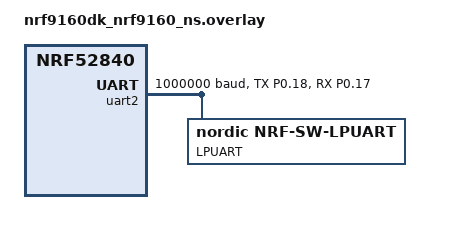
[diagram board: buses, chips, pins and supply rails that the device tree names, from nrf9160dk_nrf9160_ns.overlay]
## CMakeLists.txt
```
#
# Copyright (c) 2022 Nordic Semiconductor ASA
#
# SPDX-License-Identifier: LicenseRef-Nordic-5-Clause
#

cmake_minimum_required(VERSION 3.20.0)

find_package(Zephyr REQUIRED HINTS $ENV{ZEPHYR_BASE})
project(nrf_cloud_mqtt_multi_service)
zephyr_compile_definitions(PROJECT_NAME=${PROJECT_NAME})

# NORDIC SDK APP START
target_sources(app PRIVATE src/main.c)
target_sources(app PRIVATE src/application.c)
target_sources(app PRIVATE src/connection.c)
target_sources(app PRIVATE src/temperature.c)
target_sources(app PRIVATE src/fota_support.c)
target_sources(app PRIVATE src/led_control.c)
target_sources(app PRIVATE src/location_tracking.c)
target_sources(app PRIVATE src/ble.c)
# NORDIC SDK APP END

zephyr_include_directories(src)
```

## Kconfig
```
#
# Copyright (c) 2022 Nordic Semiconductor ASA
#
# SPDX-License-Identifier: LicenseRef-Nordic-5-Clause
#

menu "MQTT Multi Service Sample Settings"

config APP_VERSION
	string "MQTT Multi Service Sample version"
	default "1.0.0"

config POWER_SAVING_MODE_ENABLE
	bool "Enable Power Saving Mode (PSM)"
	help
	  Enable to request Power Saving Mode from cellular network.

config LTE_INIT_RETRY_TIMEOUT_SECONDS
	int "LTE initialization retry timeout (seconds)"
	default 30
	help
	  Sets the number of seconds between each LTE modem initialization
	  retry.

config CLOUD_CONNECTION_RETRY_TIMEOUT_SECONDS
	int "Cloud connection retry timeout (seconds)"
	default 30
	help
	  If connecting to nRF Cloud takes longer than this timeout, it will be
	  reattempted.

config CLOUD_CONNECTION_REESTABLISH_DELAY_SECONDS
	int "Cloud connection reestablishment delay (seconds)"
	default 5
	help
	  After the connection to nRF Cloud has been reset, wait this amount of
	  time before attempting to connect again.

config CLOUD_READY_TIMEOUT_SECONDS
	int "Cloud readiness timeout (seconds)"
	default 600
	help
	  If the connection to nRF Cloud does not become ready within this
	  timeout, the sample will reset its connection and try again.

config DATE_TIME_ESTABLISHMENT_TIMEOUT_SECONDS
	int "Modem date and time establishment timeout (seconds)"
	default 300
	help
	  The sample will wait this many seconds for the modem to determine the
	  current date and time before giving up and moving on.

config APPLICATION_THREAD_STACK_SIZE
	int "Application Thread Stack Size (bytes)"
	default 2048
	help
	  Sets the stack size (in bytes) for the application thread of the
	  sample.

config CONNECTION_THREAD_STACK_SIZE
	int "Connection Thread Stack Size (bytes)"
	default 2048
	help
	  Sets the stack size (in bytes) for the connection thread of the
	  sample.

config MESSAGE_THREAD_STACK_SIZE
	int "Message Queue Thread Stack Size (bytes)"
	default 2048
	help
	  Sets the stack size (in bytes) for the message queue processing
	  thread of the sample.

config BLE_THREAD_STACK_SIZE
	int "BLE Stack Size (bytes)"
	default 2048
	help
	  Sets the stack size (in bytes) for the BLE processing 
	  thread of the sample.

config LED_THREAD_STACK_SIZE
	int "LED Thread Stack Size (bytes)"
	default 512
	help
	  Sets the stack size (in bytes) for the LED thread.

config MAX_OUTGOING_MESSAGES
	int "Outgoing message maximum"
	default 64
	help
	  Sets the maximum number of device messages which may be enqueued
	  before further messages are dropped.

config MAX_CONSECUTIVE_SEND_FAILURES
	int "Max outgoing consecutive send failures"
	default 5
	help
	  Sets the maximum number of device messages which may fail to send
	  before a connection reset and cooldown is triggered.

config CONSECUTIVE_SEND_FAILURE_COOLDOWN_SECONDS
	int "Cooldown after max consecutive send failures exceeded"
	default 10
	help
	  If a connection reset is triggered by too many failed device
	  messages, the sample will wait this long (in seconds) before trying
	  again.

config SENSOR_SAMPLE_INTERVAL_SECONDS
	int "Sensor sampling interval (seconds)"
	default 60
	help
	  Sets the time to wait between each sensor sample.

config LOCATION_TRACKING_SAMPLE_INTERVAL_SECONDS
	int "Location sampling interval (seconds)"
	default 60
	help
	  Sets the location sampling interval in seconds.

config LOCATION_TRACKING_GNSS
	bool "Use GNSS method for location tracking"
	default y
	depends on LOCATION_METHOD_GNSS
	help
	  Disable all location tracking methods to completely disable location tracking.

config LOCATION_TRACKING_CELLULAR
	bool "Use cellular method for location tracking"
	default y
	depends on LOCATION_METHOD_CELLULAR
	help
	  Disable all location tracking methods to completely disable location tracking.

config LOCATION_TRACKING_WIFI
	bool "Use Wi-Fi method for location tracking"
	default n
	depends on LOCATION_METHOD_WIFI
	help
	  Requires the use of an nRF7002 companion chip.
	  Disable all location tracking methods to completely disable location tracking.

config TEMP_DATA_USE_SENSOR
	bool "Use genuine temperature data"
	depends on BOARD_THINGY91_NRF9160_NS
	default y if BOARD_THINGY91_NRF9160_NS
	select SENSOR
	select BME680
	help
	  Sets whether to take genuine temperature measurements from a
	  connected BME680 sensor, or just simulate sensor data.

config TEMP_TRACKING
	bool "Track temperature"
	default y
	help
	  Sets whether to take temperature measurements.

config TEMP_ALERT_LIMIT
	int "Temperature limit to send alert"
	default 30
	help
	  Sets the temperature in degrees C over which a temperature alert will
	  be sent to the cloud.

choice
	prompt "LED indication"
	default LED_INDICATION_PWM if BOARD_THINGY91_NRF9160_NS
	default LED_INDICATION_GPIO if BOARD_NRF9160DK_NRF9160_NS || $(dt_compat_enabled,gpio-leds)
	default LED_INDICATION_DISABLED

	config LED_INDICATION_PWM
		select LED
		select LED_PWM
		select PWM
		bool "Enable LED indication using the pwm-leds driver"

	config LED_INDICATION_GPIO
		select LED
		select LED_GPIO
		bool "Enable LED indication using the gpio-leds driver"

	config LED_INDICATION_DISABLED
		bool "Disable LED indication"
endchoice

choice
	prompt "LED indication LED type"
	depends on !LED_INDICATION_DISABLED
	default LED_INDICATOR_RGB if BOARD_THINGY91_NRF9160_NS && LED_INDICATION_PWM
	default LED_INDICATOR_4LED if !LED_INDICATION_DISABLED
	default LED_INDICATOR_NONE

	config LED_INDICATOR_RGB
		depends on LED_INDICATION_PWM
		bool "A single RGB LED"

	config LED_INDICATOR_4LED
		depends on !LED_INDICATION_DISABLED
		bool "Four binary LEDs"

	config LED_INDICATOR_NONE
		depends on LED_INDICATION_DISABLED
		bool "No indicator LEDs"

endchoice

config LED_VERBOSE_INDICATION
	depends on !LED_INDICATION_DISABLED
	bool "Enables extra LED status indications"
	default y

config LED_CONTINUOUS_INDICATION
	depends on !LED_INDICATION_DISABLED
	bool "Show an idle pattern instead of turning LEDs off"
	default y

config GNSS_FIX_TIMEOUT_SECONDS
	int "GNSS Fix timeout"
	default 40
	help
	  On each location sample, try for this long to achieve a GNSS fix
	  before falling back to cellular positioning.
	  Set this to 20 or so seconds below the sensor sample interval so
	  that there is time left over to perform cellular positioning.
	  Otherwise, location samples may occur at a longer interval than
	  requested.

config TEST_COUNTER
	bool "Sets whether the test counter is enabled"

config AT_CMD_REQUESTS
	bool "Enables remote execution of AT commands using device messages"
	default y

config AT_CMD_REQUEST_RESPONSE_BUFFER_LENGTH
	int "Max length (in bytes) for Modem responses during AT command requests"
	help
	  Responses to modem AT commands are stored in a buffer of this length before being sent to
	  nRF Cloud. If a response from the modem exceeds this length, it will be dropped, and an
	  error code sent in its place (-NRF_E2BIG). Cannot be less than 40 bytes.
	default 200

endmenu

module = MQTT_MULTI_SERVICE
module-str = MQTT Multi Service
source "${ZEPHYR_BASE}/subsys/logging/Kconfig.template.log_config"

menu "Zephyr Kernel"
source "Kconfig.zephyr"
endmenu
```

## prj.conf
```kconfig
#
# Copyright (c) 2022 Nordic Semiconductor ASA
#
# SPDX-License-Identifier: LicenseRef-Nordic-5-Clause
#

# Log level
# For more verbose and detailed log output, set the log level to
# CONFIG_MQTT_MULTI_SERVICE_LOG_LEVEL_DBG=y instead.
CONFIG_MQTT_MULTI_SERVICE_LOG_LEVEL_INF=y
CONFIG_LOG=y
CONFIG_LOG_MAX_LEVEL=4

# General config
CONFIG_EVENTS=y
CONFIG_NEWLIB_LIBC=y
CONFIG_NEWLIB_LIBC_FLOAT_PRINTF=y
CONFIG_RESET_ON_FATAL_ERROR=y
CONFIG_NCS_SAMPLES_DEFAULTS=y

#LED indication
# Uncomment these to minimize LED state indication when power savings are necessary
# CONFIG_LED_VERBOSE_INDICATION=n
# CONFIG_LED_CONTINUOUS_INDICATION=n

# Or, uncomment this to completely disable LED state indication
# CONFIG_LED_INDICATION_DISABLED=y

# Improved Logging
# CONFIG_LOG_MODE_DEFERRED allows logging from multiple threads simultaneously without creating
# splintered log entries, at the cost of needing a buffer for storing logs.
CONFIG_LOG_MODE_DEFERRED=y

# CONFIG_LOG_BUFFER_SIZE is the aforementioned buffer. A size of 4096 bytes is useful for debugging
# and prototyping, but is probably more than necessary for production-ready firmware.
CONFIG_LOG_BUFFER_SIZE=4096

# Heap and stacks
# Extended memory heap size needed both for PGPS and for encoding JSON-based nRF Cloud Device Messages.
CONFIG_HEAP_MEM_POOL_SIZE=24576
CONFIG_SYSTEM_WORKQUEUE_STACK_SIZE=2048

# Network
CONFIG_NETWORKING=y
CONFIG_NET_NATIVE=n
CONFIG_NET_SOCKETS=y
CONFIG_NET_SOCKETS_OFFLOAD=y

# Modem library
CONFIG_NRF_MODEM_LIB=y

# AT commands interface
CONFIG_UART_INTERRUPT_DRIVEN=y
CONFIG_AT_HOST_LIBRARY=y

# nRF Cloud
CONFIG_NRF_CLOUD_MQTT=y # This also enables FOTA by implicitly setting CONFIG_NRF_CLOUD_FOTA=y

# MQTT
CONFIG_MQTT_KEEPALIVE=120

# MCUBOOT - Needed by FOTA
CONFIG_BOOTLOADER_MCUBOOT=y
CONFIG_IMG_MANAGER=y
CONFIG_MCUBOOT_IMG_MANAGER=y
CONFIG_STREAM_FLASH_ERASE=y

# Location Services configuration
CONFIG_LOCATION=y
CONFIG_LOCATION_METHOD_GNSS=y
CONFIG_LOCATION_METHOD_CELLULAR=y
CONFIG_NRF_CLOUD_AGPS=y
CONFIG_NRF_CLOUD_LOCATION=y
CONFIG_MODEM_INFO=y
CONFIG_MODEM_INFO_ADD_NETWORK=y
CONFIG_NRF_CLOUD_PGPS=y
CONFIG_NRF_CLOUD_PGPS_REPLACEMENT_THRESHOLD=4
CONFIG_NRF_CLOUD_PGPS_REQUEST_UPON_INIT=y

# Date Time lib - Used by PGPS and main application
CONFIG_DATE_TIME=y

# LTE link control - used by PGPS and main application
CONFIG_LTE_LINK_CONTROL=y
CONFIG_LTE_NETWORK_MODE_LTE_M_GPS=y
CONFIG_LTE_AUTO_INIT_AND_CONNECT=n

# Settings - used by nRF Cloud library and PGPS
CONFIG_SETTINGS=y
CONFIG_SETTINGS_FCB=y
CONFIG_FCB=y

# Download Client - used by FOTA and PGPS
CONFIG_DOWNLOAD_CLIENT=y
CONFIG_DOWNLOAD_CLIENT_HTTP_FRAG_SIZE_1024=y
CONFIG_DOWNLOAD_CLIENT_STACK_SIZE=4096
CONFIG_DOWNLOAD_CLIENT_BUF_SIZE=2300
CONFIG_DOWNLOAD_CLIENT_MAX_HOSTNAME_SIZE=128

# Flash - Used by FOTA and PGPS
CONFIG_FLASH=y
CONFIG_FLASH_PAGE_LAYOUT=y
CONFIG_FLASH_MAP=y
CONFIG_STREAM_FLASH=y
CONFIG_MPU_ALLOW_FLASH_WRITE=y
CONFIG_PM_EXTERNAL_FLASH_MCUBOOT_SECONDARY=n
CONFIG_NRF_CLOUD_ALERTS=y

# Enable Bluetooth stack and libraries
CONFIG_BT=y
CONFIG_BT_H4=y
CONFIG_BT_WAIT_NOP=y
CONFIG_BT_CENTRAL=y
CONFIG_BT_GATT_CLIENT=y
CONFIG_BT_NUS_CLIENT=y
CONFIG_BT_GATT_DM=y
CONFIG_BT_SCAN=y
CONFIG_BT_SCAN_FILTER_ENABLE=y
CONFIG_BT_SCAN_UUID_CNT=1

# Enable UART
CONFIG_NRF_SW_LPUART=y
CONFIG_NRF_SW_LPUART_INT_DRIVEN=y

CONFIG_SERIAL=y
CONFIG_UART_2_ASYNC=y
CONFIG_UART_2_INTERRUPT_DRIVEN=n
CONFIG_UART_2_NRF_HW_ASYNC=y
CONFIG_UART_2_NRF_HW_ASYNC_TIMER=2
```

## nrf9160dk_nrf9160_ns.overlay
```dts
// To get started, press Ctrl+Space to bring up the completion menu and view the available nodes.

// You can also use the buttons in the sidebar to perform actions on nodes.
// Actions currently available include:

// * Enabling / disabling the node
// * Adding the bus to a bus
// * Removing the node
// * Connecting ADC channels

// For more help, browse the DeviceTree documentation at https://docs.zephyrproject.org/latest/guides/dts/index.html
// You can also visit the nRF DeviceTree extension documentation at https://nrfconnect.github.io/vscode-nrf-connect/devicetree/nrfdevicetree.html
#include <nrf9160dk_nrf52840_reset_on_if5.dtsi>

/ {
	chosen {
		zephyr,bt-uart=&lpuart;
	};
};

&gpiote {
	interrupts = <49 NRF_DEFAULT_IRQ_PRIORITY>;
};

&uart2 {
	current-speed = <1000000>;
	status = "okay";
	/delete-property/ hw-flow-control;

	pinctrl-0 = <&uart2_default_alt>;
	pinctrl-1 = <&uart2_sleep_alt>;
	pinctrl-names = "default", "sleep";
	lpuart: nrf-sw-lpuart {
		compatible = "nordic,nrf-sw-lpuart";
		status = "okay";
		label = "LPUART";
		req-pin = <21>; /* <&interface_to_nrf52840 3 0>; */
		rdy-pin = <19>; /* <&interface_to_nrf52840 2 0>; */
	};
};

&pinctrl {
	uart2_default_alt: uart2_default_alt {
		group1 {
			psels = <NRF_PSEL(UART_TX, 0, 18)>,
				<NRF_PSEL(UART_RX, 0, 17)>;
		};
	};

	uart2_sleep_alt: uart2_sleep_alt {
		group1 {
			psels = <NRF_PSEL(UART_TX, 0, 18)>,
				<NRF_PSEL(UART_RX, 0, 17)>;
			low-power-enable;
		};
	};

};
```

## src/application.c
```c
/* Copyright (c) 2022 Nordic Semiconductor ASA
 *
 * SPDX-License-Identifier: LicenseRef-Nordic-5-Clause
 */

#include <zephyr/kernel.h>
#include <zephyr/logging/log.h>
#include <modem/location.h>
#include <nrf_modem_at.h>
#include <nrf_errno.h>
#include <net/nrf_cloud.h>
#include <net/nrf_cloud_alerts.h>
#include <date_time.h>
#include <cJSON.h>
#include <stdio.h>

#include "nrf_cloud_codec.h"
#include "application.h"
#include "temperature.h"
#include "connection.h"
#include "ble.h"

#include "location_tracking.h"
#include "led_control.h"

LOG_MODULE_REGISTER(application, CONFIG_MQTT_MULTI_SERVICE_LOG_LEVEL);

/* Timer used to time the sensor sampling rate. */
static K_TIMER_DEFINE(sensor_sample_timer, NULL, NULL);

/* AT command request error handling */
#define AT_CMD_REQUEST_ERR_FORMAT "Error while processing AT command request: %d"
#define AT_CMD_REQUEST_ERR_MAX_LEN (sizeof(AT_CMD_REQUEST_ERR_FORMAT) + 20)
BUILD_ASSERT(CONFIG_AT_CMD_REQUEST_RESPONSE_BUFFER_LENGTH >= AT_CMD_REQUEST_ERR_MAX_LEN,
	     "Not enough AT command response buffer for printing error events.");

/* Temperature alert limits. */
#define TEMP_ALERT_LIMIT CONFIG_TEMP_ALERT_LIMIT
#define TEMP_ALERT_HYSTERESIS 2
#define TEMP_ALERT_LOWER_LIMIT (TEMP_ALERT_LIMIT + TEMP_ALERT_HYSTERESIS)

/* Buffer to contain modem responses when performing AT command requests */
static char at_req_resp_buf[CONFIG_AT_CMD_REQUEST_RESPONSE_BUFFER_LENGTH];

/**
 * @brief Construct a device message cJSON object with automatically generated timestamp
 *
 * The resultant cJSON object will be conformal to the General Message Schema described in the
 * application-protocols repo:
 *
 * https://github.com/nRFCloud/application-protocols
 *
 * @param appid - The appId for the device message
 * @param msg_type - The messageType for the device message
 * @return cJSON* - the timestamped data device message object if successful, NULL otherwise.
 */
static cJSON *create_timestamped_device_message(const char *const appid, const char *const msg_type)
{
	cJSON *msg_obj = NULL;
	int64_t timestamp;

	/* Acquire timestamp */
	if (date_time_now(&timestamp)) {
		LOG_ERR("Failed to create timestamp for data message "
			"with appid %s", appid);
		return NULL;
	}

	/* Create container object */
	msg_obj = json_create_req_obj(appid, msg_type);
	if (msg_obj == NULL) {
		LOG_ERR("Failed to create container object for timestamped data message "
			"with appid %s and message type %s", appid, msg_type);
		return NULL;
	}

	/* Add timestamp to container object */
	if (!cJSON_AddNumberToObject(msg_obj, NRF_CLOUD_MSG_TIMESTAMP_KEY, (double)timestamp)) {
		LOG_ERR("Failed to add timestamp to data message with appid %s and message type %s",
			appid, msg_type);
		cJSON_Delete(msg_obj);
		return NULL;
	}

	return msg_obj;
}

/**
 * @brief Transmit a collected sensor sample to nRF Cloud.
 *
 * @param sensor - The name of the sensor which was sampled.
 * @param value - The sampled sensor value.
 * @return int - 0 on success, negative error code otherwise.
 */
static int send_sensor_sample(const char *const sensor, double value)
{
	int ret = 0;

	/* Create a timestamped message container object for the sensor sample. */
	cJSON *msg_obj = create_timestamped_device_message(
		sensor, NRF_CLOUD_JSON_MSG_TYPE_VAL_DATA
	);

	if (msg_obj == NULL) {
		ret = -EINVAL;
		goto cleanup;
	}

	/* Populate the container object with the sensor value. */
	if (cJSON_AddNumberToObject(msg_obj, NRF_CLOUD_JSON_DATA_KEY, value) == NULL) {
		ret = -ENOMEM;
		LOG_ERR("Failed to append value to %s sample container object ",
			sensor);
		goto cleanup;
	}

	/* Send the sensor sample container object as a device message. */
	ret = send_device_message_cJSON(msg_obj);

cleanup:
	if (msg_obj) {
		cJSON_Delete(msg_obj);
	}
	return ret;
}

static int send_string(const char *const sensor, const char *const value)
{
	int ret = 0;

	/* Create a timestamped message container object for the sensor sample. */
	cJSON *msg_obj = create_timestamped_device_message(
		sensor, NRF_CLOUD_JSON_MSG_TYPE_VAL_DATA
	);

	if (msg_obj == NULL) {
		ret = -EINVAL;
		goto cleanup;
	}

	/* Populate the container object with the sensor value. */
	if (cJSON_AddStringToObject(msg_obj, NRF_CLOUD_JSON_DATA_KEY, value) == NULL) {
		ret = -ENOMEM;
		LOG_ERR("Failed to append value to %s sample container object ",
			sensor);
		goto cleanup;
	}

	/* Send the sensor sample container object as a device message. */
	ret = send_device_message_cJSON(msg_obj);

cleanup:
	if (msg_obj) {
		cJSON_Delete(msg_obj);
	}
	return ret;
}

/**
 * @brief Transmit a collected GNSS sample to nRF Cloud.
 *
 * @param loc_gnss - GNSS location data.
 * @return int - 0 on success, negative error code otherwise.
 */
static int send_gnss(const struct location_event_data * const loc_gnss)
{
	if (!loc_gnss || (loc_gnss->method != LOCATION_METHOD_GNSS)) {
		return -EINVAL;
	}

	int ret = 0;
	struct nrf_cloud_gnss_data gnss_pvt = {
		.type = NRF_CLOUD_GNSS_TYPE_PVT,
		.ts_ms = NRF_CLOUD_NO_TIMESTAMP,
		.pvt = {
			.lon		= loc_gnss->location.longitude,
			.lat		= loc_gnss->location.latitude,
			.accuracy	= loc_gnss->location.accuracy,
			.has_alt	= 0,
			.has_speed	= 0,
			.has_heading	= 0
		}
	};

	cJSON *msg_obj = cJSON_CreateObject();

	/* Add the timestamp */
	(void)date_time_now(&gnss_pvt.ts_ms);

	/* Encode the location data into a device message */
	ret = nrf_cloud_gnss_msg_json_encode(&gnss_pvt, msg_obj);

	if (ret == 0) {
		/* Send the location message */
		ret = send_device_message_cJSON(msg_obj);
	}

	if (msg_obj) {
		cJSON_Delete(msg_obj);
	}

	return ret;
}

/**
 * @brief Callback to receive periodic location updates from location_tracking.c and forward them
 * to nRF Cloud.
 *
 * Note that cellular positioning (MCELL/Multi-Cell and SCELL/Single-Cell) is sent to nRF
 * Cloud automatically (since the Location library and nRF Cloud must work together to
 * determine them in the first place). GNSS positions, on the other hand, must be
 * sent manually, since they are determined entirely on-device.
 *
 * @param location_data - The received location update.
 *
 */
static void on_location_update(const struct location_event_data * const location_data)
{
	LOG_INF("Location Updated: %.06f N %.06f W, accuracy: %.01f m, Method: %s",
		location_data->location.latitude,
		location_data->location.longitude,
		location_data->location.accuracy,
		location_method_str(location_data->method));

	/* If the position update was derived using GNSS, send it onward to nRF Cloud. */
	if (location_data->method == LOCATION_METHOD_GNSS) {
		LOG_INF("GNSS Position Update! Sending to nRF Cloud...");
		send_gnss(location_data);
	}
}

/**
 * @brief Receives general device messages from nRF Cloud, checks if they are AT command requests,
 * and performs them if so, transmitting the modem response back to nRF Cloud.
 *
 * Try sending {"appId":"MODEM", "messageType":"CMD", "data":"AT+CGMR"}
 * in the nRF Cloud Portal Terminal card.
 *
 * @param msg - The device message to check.
 */
static void handle_at_cmd_requests(const char *const msg)
{
	/* Attempt to parse the message as if it is JSON */
	struct cJSON *msg_obj = cJSON_Parse(msg);

	if (!msg_obj) {
		/* The message isn't JSON or otherwise couldn't be parsed. */
		LOG_DBG("A general topic device message of length %d could not be parsed.",
			msg ? strlen(msg) : 0);
		return;
	}

	/* Check that we are actually dealing with an AT command request */
	char *msg_appid =
		cJSON_GetStringValue(cJSON_GetObjectItem(msg_obj, NRF_CLOUD_JSON_APPID_KEY));
	char *msg_type =
		cJSON_GetStringValue(cJSON_GetObjectItem(msg_obj, NRF_CLOUD_JSON_MSG_TYPE_KEY));
	if (!msg_appid || !msg_type ||
	    (strcmp(msg_appid, NRF_CLOUD_JSON_APPID_VAL_MODEM)  != 0) ||
	    (strcmp(msg_type,  NRF_CLOUD_JSON_MSG_TYPE_VAL_CMD) != 0)) {
		goto cleanup;
	}

	/* If it is, extract the command string */
	char *cmd =
		cJSON_GetStringValue(cJSON_GetObjectItem(msg_obj, NRF_CLOUD_JSON_DATA_KEY));

	if (!cmd) {
		/* Missing or invalid command value will be treated as a blank command */
		cmd = "";
	}

	/* Execute the command and receive the result */
	LOG_DBG("Modem AT command requested: %s", cmd);
	memset(at_req_resp_buf, 0, sizeof(at_req_resp_buf));

	/* We must pass the command in using a format specifier it might contain special characters
	 * such as %.
	 *
	 * We subtract 1 from the passed-in response buffer length to ensure that the response is
	 * always null-terminated, even when the response is longer than the response buffer size.
	 */
	int err = nrf_modem_at_cmd(at_req_resp_buf, sizeof(at_req_resp_buf) - 1, "%s", cmd);

	LOG_DBG("Modem AT command response (%d, %d): %s",
		nrf_modem_at_err_type(err), nrf_modem_at_err(err), at_req_resp_buf);

	/* Trim \r\n from modem response for better readability in the portal. */
	at_req_resp_buf[MAX(0, strlen(at_req_resp_buf) - 2)] = '\0';

	/* If an error occurred with the request, report it */
	if (err < 0) {
		/* Negative error codes indicate an error with the modem lib itself, so the
		 * response buffer will be empty (or filled with junk). Thus, we can print the
		 * error message directly into it.
		 */
		snprintf(at_req_resp_buf, sizeof(at_req_resp_buf), AT_CMD_REQUEST_ERR_FORMAT, err);
		LOG_ERR("%s", at_req_resp_buf);
	}

	/* Free the old container object and create a new one to contain our response */
	cJSON_Delete(msg_obj);
	msg_obj = create_timestamped_device_message(
		NRF_CLOUD_JSON_APPID_VAL_MODEM,
		NRF_CLOUD_JSON_MSG_TYPE_VAL_DATA
	);
	if (!msg_obj) {
		return;
	}

	/* Populate response with command result */
	if (!cJSON_AddStringToObject(msg_obj, NRF_CLOUD_JSON_DATA_KEY, at_req_resp_buf)) {
		LOG_ERR("Failed to populate AT CMD response with modem response data");
		goto cleanup;
	}

	/* Send the response */
	err = send_device_message_cJSON(msg_obj);

	if (err) {
		LOG_ERR("Failed to send AT CMD request response, error: %d", err);
	}

cleanup:
	cJSON_Delete(msg_obj);
}

/** @brief Check whether temperature is acceptable.
 * If the device exceeds a temperature limit, send the temperature alert one time.
 * Once the temperature falls below a lower limit, re-enable the temperature alert
 * so it will be sent if limit is exceeded again.
 *
 * The difference between the two limits should be sufficient to prevent sending
 * new alerts if the temperature value oscillates between two nearby values.
 *
 * @param temp - The current device temperature.
 */
static void monitor_temperature(double temp)
{
	static bool temperature_alert_active;

	if ((temp > TEMP_ALERT_LIMIT) && !temperature_alert_active) {
		temperature_alert_active = true;
		(void)nrf_cloud_alert_send(ALERT_TYPE_TEMPERATURE, (float)temp,
					   "Temperature over limit!");
	} else if (temp < TEMP_ALERT_LOWER_LIMIT) {
		temperature_alert_active = false;
	}
}

static uint8_t nus_tx_data[32];
static uint16_t nus_tx_data_len;
static bool data_received = false;

static void on_ble_received(const uint8_t *data, uint16_t length)
{
	static uint8_t buf[32];
	memcpy(buf, data, length);
	buf[length] = 0;
	LOG_INF("Data received (%i bytes): %s", length, buf);

	strcpy(nus_tx_data, buf);
	nus_tx_data_len = strlen(nus_tx_data);
	data_received = true;
}

void main_application_thread_fn(void)
{
	if (IS_ENABLED(CONFIG_AT_CMD_REQUESTS)) {
		/* Register with connection.c to receive general device messages and check them for
		 * AT command requests.
		 */
		register_general_dev_msg_handler(handle_at_cmd_requests);
	}

	ble_init(on_ble_received);

	/* Wait for first connection before starting the application. */
	(void)await_connection(K_FOREVER);

	(void)nrf_cloud_alert_send(ALERT_TYPE_DEVICE_NOW_ONLINE, 0, NULL);

	/* Wait for the date and time to become known.
	 * This is needed both for location services and for sensor sample timestamping.
	 */
	LOG_INF("Waiting for modem to determine current date and time");
	if (!await_date_time_known(K_SECONDS(CONFIG_DATE_TIME_ESTABLISHMENT_TIMEOUT_SECONDS))) {
		LOG_WRN("Failed to determine valid date time. Proceeding anyways");
	} else {
		LOG_INF("Current date and time determined");
	}

	/* Begin tracking location at the configured interval. */
	(void)start_location_tracking(on_location_update,
					CONFIG_LOCATION_TRACKING_SAMPLE_INTERVAL_SECONDS);

	int counter = 0;

	/* Begin sampling sensors. */
	while (true) {
		/* Start the sensor sample interval timer.
		 * We use a timer here instead of merely sleeping the thread, because the
		 * application thread can be preempted by other threads performing long tasks
		 * (such as periodic location acquisition), and we want to account for these
		 * delays when metering the sample send rate.
		 */
		k_timer_start(&sensor_sample_timer,
			K_SECONDS(CONFIG_SENSOR_SAMPLE_INTERVAL_SECONDS), K_FOREVER);

		if (IS_ENABLED(CONFIG_TEMP_TRACKING)) {
			double temp = -1;

			if (get_temperature(&temp) == 0) {
				LOG_INF("Temperature is %d degrees C", (int)temp);
				(void)send_sensor_sample(NRF_CLOUD_JSON_APPID_VAL_TEMP, temp);

				monitor_temperature(temp);
			}
		}

		if (data_received) {
			data_received = false;
			send_string("NUS", nus_tx_data);
		}

		if (IS_ENABLED(CONFIG_TEST_COUNTER)) {
			(void)send_sensor_sample("COUNT", counter++);
		}

		/* Wait out any remaining time on the sample interval timer. */
		k_timer_status_sync(&sensor_sample_timer);
	}
}
```

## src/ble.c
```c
/*
 * Copyright (c) 2018 Nordic Semiconductor ASA
 *
 * SPDX-License-Identifier: LicenseRef-Nordic-5-Clause
 */
#include "ble.h"


LOG_MODULE_REGISTER(ble, 4);

/* UART payload buffer element size. */
#define UART_BUF_SIZE 20

static on_ble_data_received m_on_ble_data_received;

static struct bt_conn *default_conn;
static struct bt_nus_client nus_client;

static void ble_data_sent(struct bt_nus_client *nus, uint8_t err,
					const uint8_t *const data, uint16_t len)
{
	ARG_UNUSED(nus);

	if (err) {
		LOG_WRN("NUS write ATT error code: 0x%02X", err);
	}
}

static uint8_t ble_data_received(struct bt_nus_client *nus,
						const uint8_t *data, uint16_t len)
{
	ARG_UNUSED(nus);

	LOG_DBG("NUS client data received (%i bytes)", len);
	if(m_on_ble_data_received) m_on_ble_data_received(data, len);

	return BT_GATT_ITER_CONTINUE;
}

static void discovery_completed(struct bt_gatt_dm *dm, void *context)
{
	struct bt_nus_client *nus = context;
	LOG_INF("Service discovery completed");

	bt_gatt_dm_data_print(dm);

	bt_nus_handles_assign(dm, nus);
	bt_nus_subscribe_receive(nus);

	bt_gatt_dm_data_release(dm);
}

static void discovery_service_not_found(struct bt_conn *conn, void *ctx)
{
	LOG_ERR("NUS service not found!");
}

static void discovery_error_found(struct bt_conn *conn, int err, void *ctx)
{
	LOG_ERR("The discovery procedure failed, err %d", err);
}

static struct bt_gatt_dm_cb discovery_cb = {
	.completed = discovery_completed,
	.service_not_found = discovery_service_not_found,
	.error_found = discovery_error_found,
};

static void gatt_discover(struct bt_conn *conn)
{
	int err;

	if (conn != default_conn) {
		return;
	}

	err = bt_gatt_dm_start(conn,
			       BT_UUID_NUS_SERVICE,
			       &discovery_cb,
			       &nus_client);
	if (err) {
		LOG_ERR("could not start the discovery procedure, error "
			"code: %d", err);
	}
}

static void exchange_func(struct bt_conn *conn, uint8_t err, struct bt_gatt_exchange_params *params)
{
	if (!err) {
		LOG_INF("MTU exchange done");
	} else {
		LOG_WRN("MTU exchange failed (err %" PRIu8 ")", err);
	}
}

static void connected(struct bt_conn *conn, uint8_t conn_err)
{
	int err;
	char addr[BT_ADDR_LE_STR_LEN];

	bt_addr_le_to_str(bt_conn_get_dst(conn), addr, sizeof(addr));

	if (conn_err) {
		LOG_INF("Failed to connect to %s (%d)", addr, conn_err);

		if (default_conn == conn) {
			bt_conn_unref(default_conn);
			default_conn = NULL;

			err = bt_scan_start(BT_SCAN_TYPE_SCAN_ACTIVE);
			if (err) {
				LOG_ERR("Scanning failed to start (err %d)",
					err);
			}
		}

		return;
	}

	LOG_INF("Connected: %s", addr);

	static struct bt_gatt_exchange_params exchange_params;

	exchange_params.func = exchange_func;
	err = bt_gatt_exchange_mtu(conn, &exchange_params);
	if (err) {
		LOG_WRN("MTU exchange failed (err %d)", err);
	}

	// Start service discovery
	gatt_discover(conn);
}

static void disconnected(struct bt_conn *conn, uint8_t reason)
{
	char addr[BT_ADDR_LE_STR_LEN];
	int err;

	bt_addr_le_to_str(bt_conn_get_dst(conn), addr, sizeof(addr));

	LOG_INF("Disconnected: %s (reason %u)", addr, reason);

	if (default_conn != conn) {
		return;
	}

	bt_conn_unref(default_conn);
	default_conn = NULL;

	err = bt_scan_start(BT_SCAN_TYPE_SCAN_ACTIVE);
	if (err) {
		LOG_ERR("Scanning failed to start (err %d)", err);
	}
}

static struct bt_conn_cb conn_callbacks = {
	.connected = connected,
	.disconnected = disconnected,
};

void scan_filter_match(struct bt_scan_device_info *device_info,
		       struct bt_scan_filter_match *filter_match,
		       bool connectable)
{
	char addr[BT_ADDR_LE_STR_LEN];

	bt_addr_le_to_str(device_info->recv_info->addr, addr, sizeof(addr));

	LOG_INF("Device found: %s", addr);
}

void scan_connecting_error(struct bt_scan_device_info *device_info)
{
	LOG_ERR("Connection to peer failed!");
}

static void scan_connecting(struct bt_scan_device_info *device_info,
			    struct bt_conn *conn)
{
	default_conn = bt_conn_ref(conn);
}

BT_SCAN_CB_INIT(scan_cb, scan_filter_match, NULL, scan_connecting_error, scan_connecting);

static void scan_start(void)
{
	int err;

	struct bt_le_scan_param scan_param = {
		.type = BT_LE_SCAN_TYPE_ACTIVE,
		.options = BT_LE_SCAN_OPT_FILTER_DUPLICATE,
		.interval = 0x0010,
		.window = 0x0010,
	};

	struct bt_scan_init_param scan_init = {
		.connect_if_match = 1,
		.scan_param = &scan_param,
		.conn_param = BT_LE_CONN_PARAM_DEFAULT,
	};

	bt_scan_init(&scan_init);
	bt_scan_cb_register(&scan_cb);

	err = bt_scan_filter_add(BT_SCAN_FILTER_TYPE_UUID, BT_UUID_NUS_SERVICE);
	if (err) {
		LOG_ERR("Scanning filters cannot be set");
		return;
	}

	err = bt_scan_filter_enable(BT_SCAN_UUID_FILTER, false);
	if (err) {
		LOG_ERR("Filters cannot be turned on");
	}

	err = bt_scan_start(BT_SCAN_TYPE_SCAN_ACTIVE);
	if (err) {
		LOG_ERR("Scanning failed to start, err %d", err);
	}

	LOG_INF("Scanning...");
}

static int nus_client_init(void)
{
	int err;
	struct bt_nus_client_init_param init = {
		.cb = {
			.received = ble_data_received,
			.sent = ble_data_sent,
		}
	};

	err = bt_nus_client_init(&nus_client, &init);
	if (err) {
		LOG_ERR("NUS Client initialization failed (err %d)", err);
		return err;
	}

	LOG_INF("NUS Client module initialized");
	return err;
}

static void ble_ready(int err)
{
	LOG_INF("Bluetooth ready");

	bt_conn_cb_register(&conn_callbacks);
	
	nus_client_init();

	scan_start();
}

void ble_init(on_ble_data_received received_cb)
{
	int err;

	m_on_ble_data_received = received_cb;

	LOG_INF("Initializing Bluetooth..");
	err = bt_enable(ble_ready);
	if (err) {
		LOG_ERR("Bluetooth init failed (err %d)", err);
		return;
	}
	else {
		LOG_INF("Bluetooth init success");
	}
}

uint32_t ble_send_data(const uint8_t *data, uint16_t length)
{
	return bt_nus_client_send(&nus_client, data, length);
}
```

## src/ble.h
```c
/*
 * Copyright (c) 2018 Nordic Semiconductor ASA
 *
 * SPDX-License-Identifier: LicenseRef-Nordic-5-Clause
 */

#ifndef _BLE_H_
#define _BLE_H_
#include <zephyr/kernel.h>

#include <zephyr/bluetooth/bluetooth.h>
#include <zephyr/bluetooth/gatt.h>
#include <zephyr/bluetooth/uuid.h>
#include <bluetooth/gatt_dm.h>
#include <bluetooth/scan.h>
#include <bluetooth/services/nus.h>
#include <bluetooth/services/nus_client.h>

#include <dk_buttons_and_leds.h>
#include <zephyr/sys/byteorder.h>

#include <net/nrf_cloud.h>
#include <stdio.h>
#include <zephyr/logging/log.h>


typedef void (*on_ble_data_received)(const uint8_t *data, uint16_t length);

void ble_init(on_ble_data_received received_cb);

uint32_t ble_send_data(const uint8_t *data, uint16_t length);

#endif /* _BLE_H_ */
```
